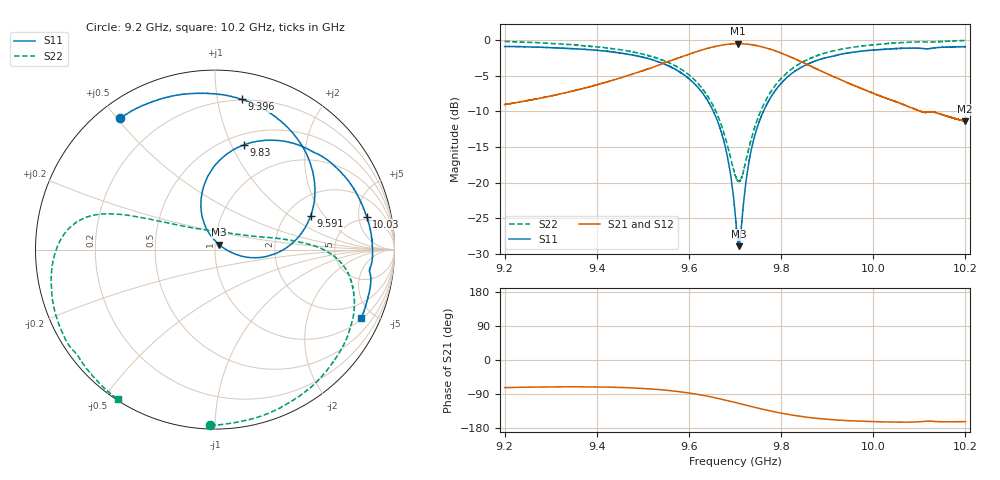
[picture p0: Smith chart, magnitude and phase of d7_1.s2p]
!Agilent Technologies,N5242A,MY51221714,A.09.90.19
!Agilent N5242A: A.09.90.19
!Date: Saturday, March 16, 2024 09:16:25
!Correction: S11(Full 2 Port(1,2))
!S21(Full 2 Port(1,2))
!S12(Full 2 Port(1,2))
!S22(Full 2 Port(1,2))
!S2P File: Measurements: S11, S21, S12, S22:
# Hz S  dB  R 50
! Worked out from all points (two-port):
!   16001 points, 9.2 GHz to 10.2 GHz, reference 50 ohm
!   highest |S21| = -0.49 dB at 9.706 GHz (marker M1); lowest = -11.4 dB at 10.2 GHz (marker M2)
!   |S21| within 3 dB of the highest: 9.535049 GHz to 9.535072 GHz (22.76 kHz wide, 0.000239 % of centre); 9.535 GHz to 9.859 GHz (323.9 MHz wide, 3.34 % of centre)
!   lowest |S11| = -28.9 dB at 9.708 GHz (marker M3), VSWR 1.07, Z = 52.4 + j2.81 ohm
!   |S11| at or under -10 dB: 9.653 GHz to 9.762 GHz (108.7 MHz wide, 1.12 % of centre)
!   |S22| runs from -19.9 to -0.1 dB; largest |S21 - S12| = 0.012
!   S11 on the Smith chart (normalised r, x): 9.2 GHz: 0.07, +0.51; 9.396 GHz: 0.19, +1.17; 9.591 GHz: 2.69, +1.47; 9.83 GHz: 0.61, +1.12; 10.03 GHz: 4.37, +6.38; 10.2 GHz: 1.07, -4.25
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9.2e9  -0.90 125.7  -9.05 -72.9  -9.04 -73.4  -0.18 -91.6
9.27775e9  -1.01 108.3  -8.15 -71.3  -8.13 -71.8  -0.39 -70.1
9.366688e9  -1.27 87.4  -6.85 -70.7  -6.84 -71.2  -0.76 -46.5
9.396188e9  -1.41 79.9  -6.35 -70.9  -6.33 -71.5  -0.94 -39.0
9.533375e9  -3.03 40.1  -3.54 -77.9  -3.53 -78.3  -2.59 -9.0
9.591125e9  -4.97 19.3  -2.19 -85.5  -2.17 -86.1  -4.44 0.3
9.663875e9  -11.72 -9.5  -0.81 -101.5  -0.79 -102.0  -10.80 13.7
9.685312e9  -16.97 -13.4  -0.58 -107.6  -0.57 -108.1  -15.19 28.1
9.7e9  -24.04 -0.2  -0.51 -111.9  -0.49 -112.5  -18.93 55.7
9.706e9  -28.14 28.7  -0.49 -113.8  -0.49 -114.3  -19.76 74.4
9.708375e9  -28.93 48.4  -0.51 -114.5  -0.49 -115.0  -19.87 83.3
9.729562e9  -17.42 112.6  -0.59 -121.0  -0.57 -121.6  -15.34 135.0
9.749125e9  -12.08 108.3  -0.79 -126.8  -0.79 -127.4  -11.05 149.2
9.784438e9  -7.36 93.9  -1.44 -136.5  -1.45 -137.1  -6.61 157.1
9.83025e9  -4.35 74.6  -2.65 -146.5  -2.63 -147.1  -3.71 162.2
9.866688e9  -3.12 60.7  -3.73 -152.5  -3.71 -153.1  -2.48 166.6
9.950438e9  -1.76 33.6  -6.16 -160.5  -6.16 -161.0  -1.06 -179.8
1.003038e10  -1.26 12.2  -8.20 -163.4  -8.21 -164.1  -0.48 -163.5
1.003338e10  -1.25 11.5  -8.28 -163.5  -8.29 -164.1  -0.47 -162.8
1.01055e10  -1.16 -5.7  -10.05 -162.7  -10.05 -163.1  -0.23 -146.7
1.019975e10  -0.93 -25.0  -11.42 -162.7  -11.38 -163.3  -0.05 -123.2
1.02e10  -0.93 -25.0  -11.40 -162.6  -11.40 -163.3  -0.06 -123.1
